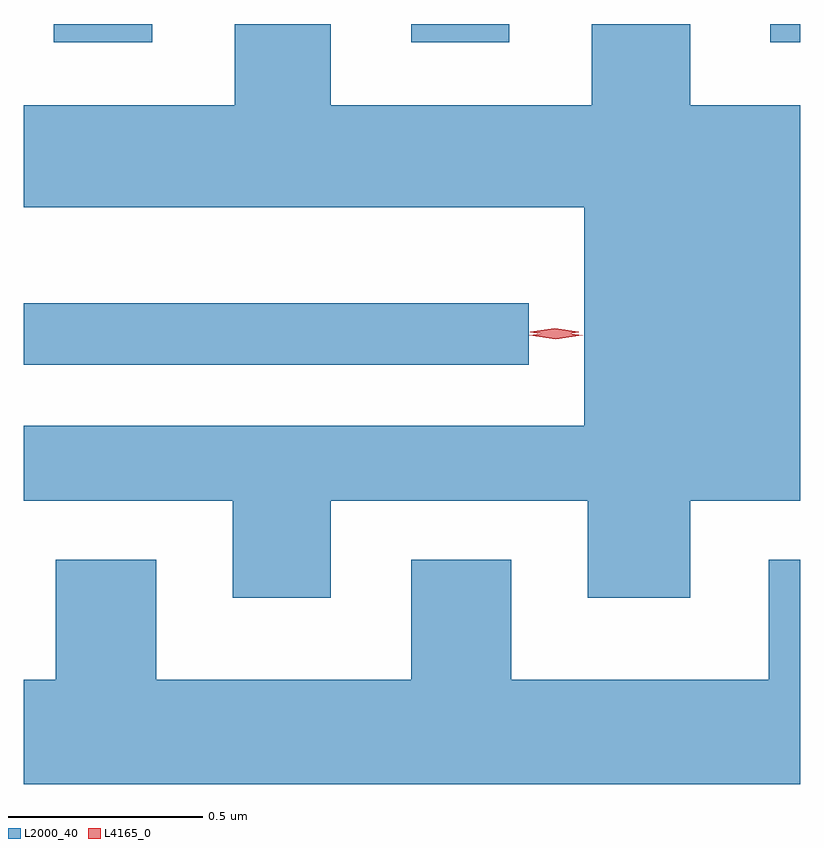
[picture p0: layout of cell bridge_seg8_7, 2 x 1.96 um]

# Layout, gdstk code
import gdstk
lib = gdstk.Library(unit=1e-6, precision=1e-09)
def R(c, l, rs):  # rectangles x0, y0, x1, y1
    for r in rs: c.add(gdstk.rectangle(r[:2], r[2:], *l))
def P(c, l, *ps):  # polygons
    for p in ps: c.add(gdstk.Polygon(p, *l))
L2000_40 = (2000, 40)
L4165_0 = (4165, 0)

bridge_seg8_7 = lib.new_cell('bridge_seg8_7')
R(bridge_seg8_7, L2000_40, [(1677.428,1935.176,1678.728,1935.334), (1677.506,1936.006,1677.759,1936.053), (1678.426,1936.006,1678.679,1936.053), (1679.351,1936.006,1679.428,1936.053)])
P(bridge_seg8_7, L2000_40, [(1678.219,1934.826),(1678.881,1934.826),(1678.881,1934.576),(1679.144,1934.576),(1679.144,1934.826),(1679.428,1934.826),(1679.428,1935.844),(1679.144,1935.844),(1679.144,1936.053),(1678.891,1936.053),(1678.891,1935.844),(1678.219,1935.844),(1678.219,1936.053),(1677.971,1936.053),(1677.971,1935.844),(1677.428,1935.844),(1677.428,1935.581),(1678.871,1935.581),(1678.871,1935.019),(1677.428,1935.019),(1677.428,1934.826),(1677.966,1934.826),(1677.966,1934.576),(1678.219,1934.576)],
  [(1679.428,1934.674),(1679.346,1934.674),(1679.346,1934.364),(1678.684,1934.364),(1678.684,1934.674),(1678.426,1934.674),(1678.426,1934.364),(1677.769,1934.364),(1677.769,1934.674),(1677.511,1934.674),(1677.511,1934.364),(1677.428,1934.364),(1677.428,1934.096),(1679.428,1934.096)])
P(bridge_seg8_7, L4165_0, [(1678.798,1935.241),(1678.73,1935.251),(1678.73,1935.251),(1678.73,1935.252),(1678.799,1935.261),(1678.867,1935.252),(1678.868,1935.251),(1678.867,1935.251)],
  [(1678.795,1935.25),(1678.733,1935.259),(1678.733,1935.259),(1678.733,1935.26),(1678.795,1935.27),(1678.857,1935.26),(1678.858,1935.26),(1678.857,1935.259)])

lib.write_gds('bridge_seg8_7.gds')
